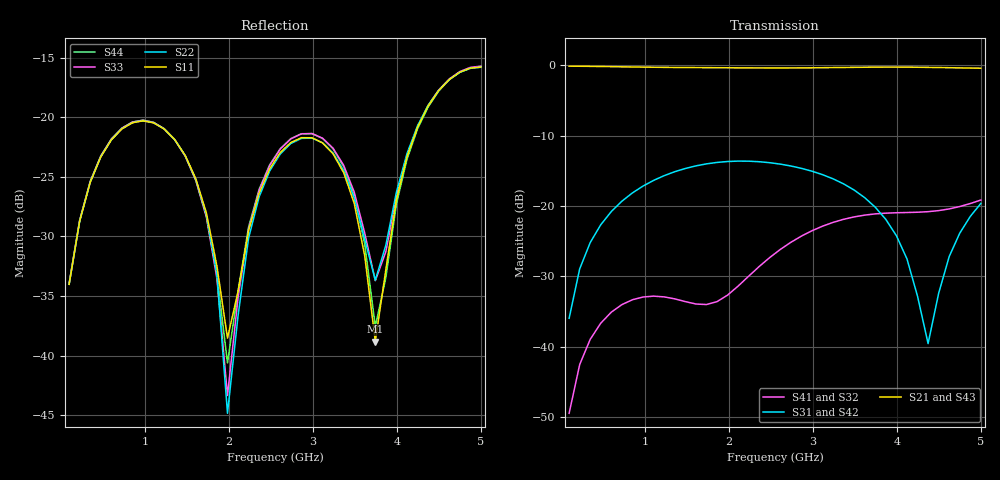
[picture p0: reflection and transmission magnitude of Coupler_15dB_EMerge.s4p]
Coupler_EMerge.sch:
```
<Qucs Schematic 25.2.0>
<Properties>
  <View=-13,93,702,484,2.19231,0,0>
  <Grid=10,10,1>
  <DataSet=Coupler_EMerge.dat>
  <DataDisplay=Coupler_EMerge.dpl>
  <OpenDisplay=0>
  <Script=Coupler_EMerge.m>
  <RunScript=0>
  <showFrame=0>
  <FrameText0=Title>
  <FrameText1=Drawn By:>
  <FrameText2=Date:>
  <FrameText3=Revision:>
</Properties>
<Symbol>
  <.ID -40 74 SUB>
  <.PortSym -100 -50 1 0 P1>
  <.PortSym 90 -50 2 180 P2>
  <.PortSym -100 60 3 0 P3>
  <.PortSym 90 60 4 180 P4>
  <Rectangle -80 -60 70 20 #000000 1 1 #ffaa00 1 1>
  <Rectangle -80 50 70 20 #000000 1 1 #ffaa00 1 1>
  <Rectangle -30 -60 20 130 #000000 1 1 #ffaa00 1 1>
  <Rectangle 0 -60 70 20 #000000 1 1 #ffaa00 1 1>
  <Rectangle 0 50 70 20 #000000 1 1 #ffaa00 1 1>
  <Rectangle 0 -60 20 130 #000000 1 1 #ffaa00 1 1>
  <Line -100 -50 20 0 #000000 1 1>
  <Line -100 60 20 0 #000000 1 1>
  <Line 70 -50 20 0 #000000 1 1>
  <Line 70 60 20 0 #000000 1 1>
  <Text -30 -90 11 #000000 0 "EMerge">
</Symbol>
<Components>
  <GND * 1 430 280 0 0 1 2>
  <Port P1 1 190 180 -23 12 0 0 "1" 1 "analog" 0>
  <Port P2 1 480 180 4 -46 0 2 "2" 1 "analog" 0>
  <Port P3 1 250 390 -23 10 0 0 "3" 1 "analog" 0>
  <Port P4 1 520 390 4 -46 0 2 "4" 1 "analog" 0>
  <SPfile X1 1 370 280 -260 -26 1 3 "Coupler_15dB_EMerge.s4p" 1 "rectangular" 0 "linear" 0 "open" 0 "4" 0>
</Components>
<Wires>
  <400 310 400 390 "" 0 0 0 "">
  <400 180 400 250 "" 0 0 0 "">
  <340 180 340 250 "" 0 0 0 "">
  <340 310 340 390 "" 0 0 0 "">
  <190 180 340 180 "" 0 0 0 "">
  <400 390 520 390 "" 0 0 0 "">
  <400 180 480 180 "" 0 0 0 "">
  <250 390 340 390 "" 0 0 0 "">
</Wires>
<Diagrams>
</Diagrams>
<Paintings>
</Paintings>
```
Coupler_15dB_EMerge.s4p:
! Generated by EMerge - 4-port S-parameters
! File generated: 2026-02-14 16:36
! Substrate: RO4003C
! h = 0.508 mm
! Design parameters:
! W0 = 1.08 mm
! L_coupled = 22.75 mm
! W_coupled = 1.0 mm
! S_coupled = 0.3 mm
! L_feed = 10.0 mm
! L_trans = 1.0 mm
! Air box height = 10 mm
! Run time = 1.03 min
# GHZ S RI R 50
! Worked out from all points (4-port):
!   40 points, 100 MHz to 5 GHz, reference 50 ohm
!   strongest paths, dB at 100 MHz, 1.356 GHz, 2.613 GHz, 3.869 GHz, 5 GHz:
!     S21: -0.1, -0.3, -0.4, -0.3, -0.4
!     S43: -0.1, -0.3, -0.4, -0.3, -0.4
!     S31: -36.0, -15.1, -14.1, -21.9, -19.6
!     S42: -36.0, -15.1, -14.1, -21.9, -19.7
!     S41: -49.5, -33.2, -26.2, -21.0, -19.2
!     S32: -49.5, -33.3, -26.4, -21.1, -19.1
!   lowest |S11| = -38.8 dB at 3.744 GHz (marker M1), VSWR 1.02, Z = 51.1 + j0.188 ohm
!   |S11| at or under -10 dB: start of sweep to end of sweep
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0.1  0.0146 0.0135  0.9737 -0.1532  0.00254 0.0157  -0.000752 -0.00327
     0.9737 -0.1532  0.0146 0.0135  -0.000755 -0.00327  0.00253 0.0157
     0.00254 0.0157  -0.000756 -0.00327  0.0147 0.0137  0.9737 -0.1532
     -0.000753 -0.00327  0.00253 0.0157  0.9737 -0.1532  0.0147 0.0137
3.74359  0.0113 0.00184  0.8447 0.4771  -0.0471 0.086  0.0409 -0.0774
         0.8446 0.4771  0.0196 0.00691  0.0418 -0.0759  -0.0488 0.0849
         -0.0471 0.0859  0.0419 -0.0761  0.0203 0.00393  0.8435 0.4791
         0.0411 -0.0776  -0.0487 0.0849  0.8436 0.4791  0.0133 -7.07e-06
5  0.1622 0.00944  0.1085 -0.9469  -0.1004 -0.0279  -0.1064 -0.0275
   0.1085 -0.9468  0.1616 0.0147  -0.1065 -0.0278  -0.0995 -0.0288
   -0.1005 -0.0279  -0.1068 -0.0279  0.1637 0.00844  0.1113 -0.9463
   -0.1067 -0.0276  -0.0996 -0.029  0.1112 -0.9464  0.1626 0.0167
